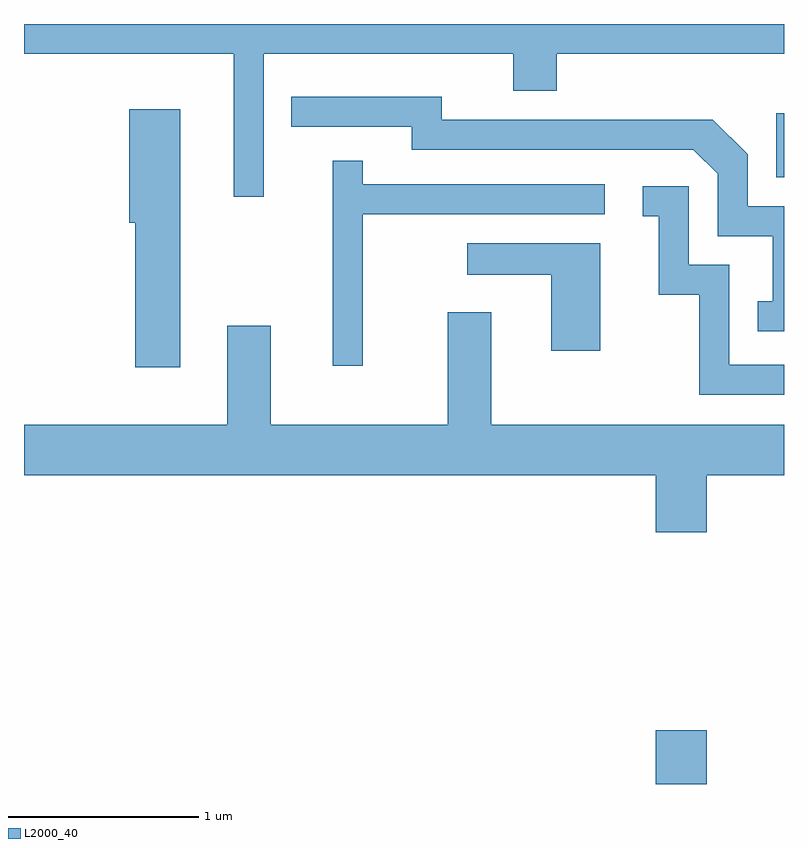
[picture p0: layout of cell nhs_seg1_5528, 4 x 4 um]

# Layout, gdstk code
import gdstk
lib = gdstk.Library(unit=1e-6, precision=1e-09)
def R(c, l, rs):  # rectangles x0, y0, x1, y1
    for r in rs: c.add(gdstk.rectangle(r[:2], r[2:], *l))
def P(c, l, *ps):  # polygons
    for p in ps: c.add(gdstk.Polygon(p, *l))
L2000_40 = (2000, 40)

nhs_seg1_5528 = lib.new_cell('nhs_seg1_5528')
R(nhs_seg1_5528, L2000_40, [(354.936,915.712,355.204,915.994), (355.571,918.906,355.611,919.243)])
P(nhs_seg1_5528, L2000_40, [(352.874,919.556),(354.186,919.556),(354.186,919.361),(354.414,919.361),(354.414,919.556),(355.611,919.556),(355.611,919.712),(351.611,919.712),(351.611,919.556),(352.716,919.556),(352.716,918.803),(352.874,918.803)],
  [(355.611,918.754),(355.419,918.754),(355.419,919.027),(355.237,919.209),(353.809,919.209),(353.809,919.329),(353.018,919.329),(353.018,919.171),(353.651,919.171),(353.651,919.051),(355.134,919.051),(355.261,918.924),(355.261,918.596),(355.551,918.596),(355.551,918.254),(355.473,918.254),(355.473,918.096),(355.611,918.096)],
  [(352.434,919.264),(352.166,919.264),(352.166,918.666),(352.196,918.666),(352.196,917.906),(352.434,917.906)],
  [(353.394,918.711),(354.668,918.711),(354.668,918.869),(353.394,918.869),(353.394,918.993),(353.236,918.993),(353.236,917.913),(353.394,917.913)],
  [(355.611,917.919),(355.324,917.919),(355.324,918.444),(355.109,918.444),(355.109,918.859),(354.868,918.859),(354.868,918.701),(354.951,918.701),(354.951,918.286),(355.166,918.286),(355.166,917.761),(355.611,917.761)],
  [(354.644,918.559),(353.943,918.559),(353.943,918.391),(354.386,918.391),(354.386,917.991),(354.644,917.991)],
  [(355.204,917.336),(355.611,917.336),(355.611,917.604),(354.069,917.604),(354.069,918.194),(353.841,918.194),(353.841,917.604),(352.909,917.604),(352.909,918.124),(352.681,918.124),(352.681,917.604),(351.611,917.604),(351.611,917.336),(354.936,917.336),(354.936,917.036),(355.204,917.036)])

lib.write_gds('nhs_seg1_5528.gds')
